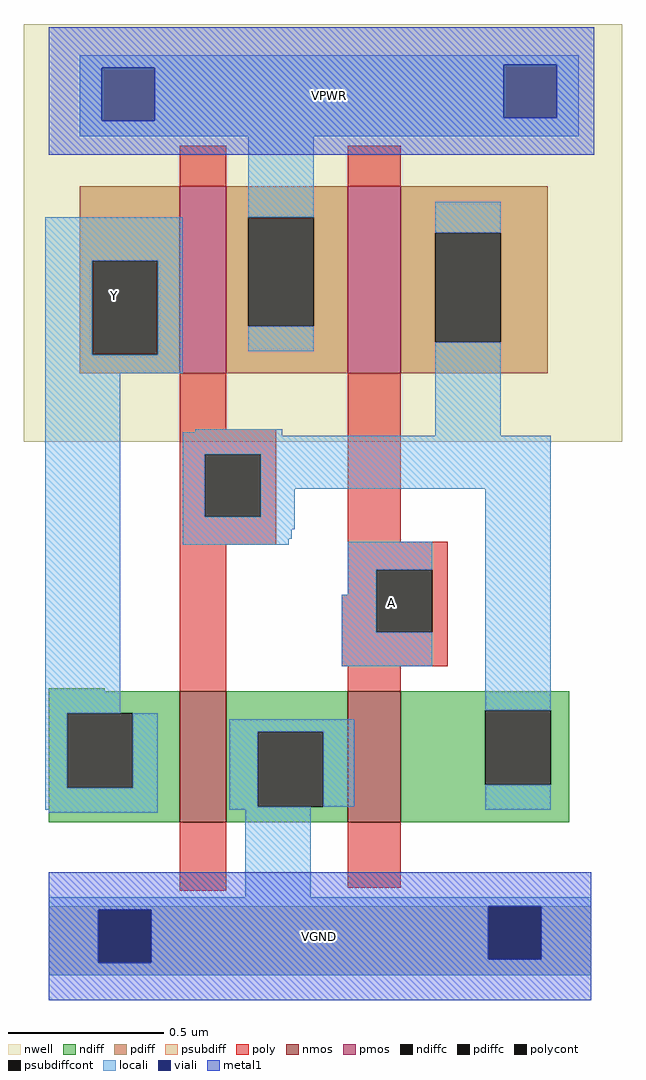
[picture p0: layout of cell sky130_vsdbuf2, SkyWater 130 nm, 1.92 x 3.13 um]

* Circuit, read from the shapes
.subckt sky130_vsdbuf2 A Y VPWR VPB VGND
XM1 VGND n1 Y VGND sky130_fd_pr__nfet_01v8 w=0.42 l=0.15
XM2 n1 A VGND VGND sky130_fd_pr__nfet_01v8 w=0.42 l=0.17
XM3 VPWR n1 Y VPB sky130_fd_pr__pfet_01v8 w=0.6 l=0.15
XM4 n1 A VPWR VPB sky130_fd_pr__pfet_01v8 w=0.6 l=0.17
.ends

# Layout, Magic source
magic
tech sky130A
<< nwell >>
rect -8 158 184 292
<< nmos >>
rect 42 36 57 78
rect 96 36 113 78
<< pmos >>
rect 42 180 57 240
rect 96 180 113 240
<< ndiff >>
rect 0 78 18 79
rect 0 71 42 78
rect 0 47 6 71
rect 27 47 42 71
rect 0 36 42 47
rect 57 65 96 78
rect 57 41 67 65
rect 88 41 96 65
rect 57 36 96 41
rect 113 72 167 78
rect 113 48 140 72
rect 161 48 167 72
rect 113 36 167 48
<< pdiff >>
rect 10 216 42 240
rect 10 186 14 216
rect 35 186 42 216
rect 10 180 42 186
rect 57 230 96 240
rect 57 195 64 230
rect 85 195 96 230
rect 57 180 96 195
rect 113 225 160 240
rect 113 190 124 225
rect 145 190 160 225
rect 113 180 160 190
<< ndiffc >>
rect 6 47 27 71
rect 67 41 88 65
rect 140 48 161 72
<< pdiffc >>
rect 14 186 35 216
rect 64 195 85 230
rect 124 190 145 225
<< psubdiff >>
rect 0 8 141 9
rect 0 -9 16 8
rect 33 -8 141 8
rect 158 -8 174 9
rect 33 -9 174 -8
rect 0 -13 174 -9
<< psubdiffcont >>
rect 16 -9 33 8
rect 141 -8 158 9
<< poly >>
rect 42 240 57 253
rect 96 240 113 253
rect 42 162 57 180
rect 42 154 73 162
rect 42 134 50 154
rect 68 134 73 154
rect 42 125 73 134
rect 96 126 113 180
rect 42 78 57 125
rect 96 117 128 126
rect 96 109 105 117
rect 94 97 105 109
rect 123 97 128 117
rect 94 86 128 97
rect 96 78 113 86
rect 42 14 57 36
rect 96 15 113 36
<< polycont >>
rect 50 134 68 154
rect 105 97 123 117
<< locali >>
rect 10 279 170 282
rect 10 278 146 279
rect 10 261 17 278
rect 34 262 146 278
rect 163 262 170 279
rect 34 261 170 262
rect 10 256 170 261
rect 64 230 85 256
rect -1 216 43 230
rect -1 186 14 216
rect 35 186 43 216
rect 64 187 85 195
rect 124 225 145 235
rect -1 180 43 186
rect -1 71 23 180
rect 47 161 75 162
rect 43 160 75 161
rect 124 160 145 190
rect 43 154 161 160
rect 43 134 50 154
rect 68 143 161 154
rect 68 134 79 143
rect 43 130 79 134
rect 43 127 78 130
rect 43 125 77 127
rect 96 117 123 126
rect 96 109 105 117
rect 94 97 105 109
rect 94 86 123 97
rect 140 72 161 143
rect -1 47 6 71
rect 27 47 35 71
rect -1 40 35 47
rect 58 65 98 69
rect 58 41 67 65
rect 88 41 98 65
rect 58 40 84 41
rect 140 40 161 48
rect 0 39 35 40
rect 63 12 84 40
rect 0 9 174 12
rect 0 8 141 9
rect 0 -9 16 8
rect 33 -8 141 8
rect 158 -8 174 9
rect 33 -9 174 -8
rect 0 -13 174 -9
<< viali >>
rect 17 261 34 278
rect 146 262 163 279
rect 16 -9 33 8
rect 141 -8 158 9
<< metal1 >>
rect 0 279 175 291
rect 0 278 146 279
rect 0 261 17 278
rect 34 262 146 278
rect 163 262 175 279
rect 34 261 175 262
rect 0 250 175 261
rect 0 9 174 20
rect 0 8 141 9
rect 0 -9 16 8
rect 33 -8 141 8
rect 158 -8 174 9
rect 33 -9 174 -8
rect 0 -21 174 -9
<< labels >>
flabel locali 34 256 146 282 0 FreeSans 120 0 0 0 VPWR
port 3 nsew power bidirectional
flabel nwell 34 256 146 282 0 FreeSans 120 0 0 0 VPB
port 4 nsew power bidirectional
flabel locali 33 -13 141 12 0 FreeSans 120 0 0 0 VGND
port 5 nsew ground bidirectional
flabel locali 97 87 123 126 0 FreeSans 120 0 0 0 A
port 1 nsew signal input
flabel locali -1 180 43 230 0 FreeSans 120 0 0 0 Y
port 2 nsew signal output
<< properties >>
string FIXED_BBOX 0 0 176 272
<< end >>
